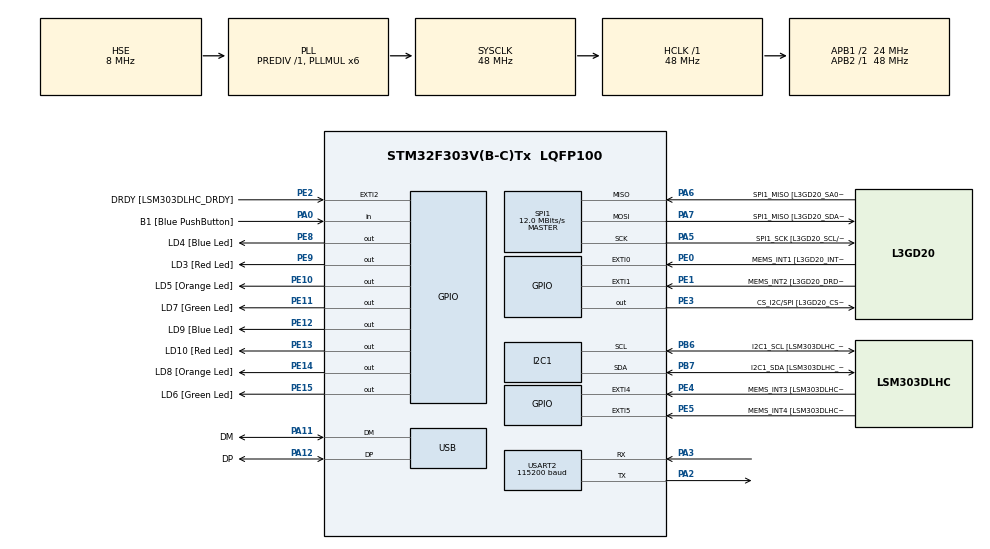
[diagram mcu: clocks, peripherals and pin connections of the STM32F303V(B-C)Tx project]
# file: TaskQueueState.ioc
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FREERTOS.Tasks01=defaultTask,0,128,StartDefaultTask,Default,NULL,Dynamic,NULL,NULL
FREERTOS.configUSE_NEWLIB_REENTRANT=1
FREERTOS.configUSE_TIMERS=1
I2C1.Timing=0x2000090E
I2C1.Timing-I2C=0x2000090E
Mcu.Family=STM32F3
Mcu.Name=STM32F303V(B-C)Tx
Mcu.Package=LQFP100
NVIC.PriorityGroup=NVIC_PRIORITYGROUP_4
NVIC.TIM6_DAC_IRQn=true\:15\:0\:false\:false\:true\:false\:false\:true\:true
NVIC.TimeBase=TIM6_DAC_IRQn
NVIC.TimeBaseIP=TIM6
NVIC.USART2_IRQn=true\:6\:0\:true\:false\:true\:true\:true\:true\:true
PA0.GPIO_Label=B1 [Blue PushButton]
PA0.Signal=GPIO_Input
PA11.GPIO_Label=DM
PA11.Mode=Device
PA11.Signal=USB_DM
PA12.GPIO_Label=DP
PA12.Mode=Device
PA12.Signal=USB_DP
PA13.GPIO_Label=SWDIO
PA13.Mode=Serial_Wire
PA13.Signal=SYS_JTMS-SWDIO
PA14.GPIO_Label=SWCLK
PA14.Mode=Serial_Wire
PA14.Signal=SYS_JTCK-SWCLK
PA2.Mode=Asynchronous
PA2.Signal=USART2_TX
PA3.Mode=Asynchronous
PA3.Signal=USART2_RX
PA5.GPIO_Label=SPI1_SCK [L3GD20_SCL/SPC]
PA5.Mode=Full_Duplex_Master
PA5.Signal=SPI1_SCK
PA6.GPIO_Label=SPI1_MISO [L3GD20_SA0/SDO]
PA6.Mode=Full_Duplex_Master
PA6.Signal=SPI1_MISO
PA7.GPIO_Label=SPI1_MISO [L3GD20_SDA/SDI/SDO]
PA7.Mode=Full_Duplex_Master
PA7.Signal=SPI1_MOSI
PB3.GPIO_Label=SWO
PB3.Signal=SYS_JTDO-TRACESWO
PB6.GPIO_Label=I2C1_SCL [LSM303DLHC_SCL]
PB6.GPIO_Pu=GPIO_PULLUP
PB6.Mode=I2C
PB6.Signal=I2C1_SCL
PB7.GPIO_Label=I2C1_SDA [LSM303DLHC_SDA]
PB7.GPIO_Pu=GPIO_PULLUP
PB7.Mode=I2C
PB7.Signal=I2C1_SDA
PC14-OSC32_IN.GPIO_Label=OSC32_IN
PC14-OSC32_IN.Signal=RCC_OSC32_IN
PC15-OSC32_OUT.GPIO_Label=OSC32_OUT
PC15-OSC32_OUT.Signal=RCC_OSC32_OUT
PE0.GPIO_Label=MEMS_INT1 [L3GD20_INT1]
PE0.GPIO_ModeDefaultEXTI=GPIO_MODE_EVT_RISING
PE0.Signal=GPXTI0
PE1.GPIO_Label=MEMS_INT2 [L3GD20_DRDY/INT2]
PE1.GPIO_ModeDefaultEXTI=GPIO_MODE_EVT_RISING
PE1.Signal=GPXTI1
PE10.GPIO_Label=LD5 [Orange Led]
PE10.Signal=GPIO_Output
PE11.GPIO_Label=LD7 [Green Led]
PE11.Signal=GPIO_Output
PE12.GPIO_Label=LD9 [Blue Led]
PE12.Signal=GPIO_Output
PE13.GPIO_Label=LD10 [Red Led]
PE13.Signal=GPIO_Output
PE14.GPIO_Label=LD8 [Orange Led]
PE14.Signal=GPIO_Output
PE15.GPIO_Label=LD6 [Green Led]
PE15.Signal=GPIO_Output
PE2.GPIO_Label=DRDY [LSM303DLHC_DRDY]
PE2.GPIO_ModeDefaultEXTI=GPIO_MODE_EVT_RISING
PE2.Signal=GPXTI2
PE3.GPIO_Label=CS_I2C/SPI [L3GD20_CS_I2C/SPI]
PE3.Signal=GPIO_Output
PE4.GPIO_Label=MEMS_INT3 [LSM303DLHC_INT1]
PE4.GPIO_ModeDefaultEXTI=GPIO_MODE_EVT_RISING
PE4.Signal=GPXTI4
PE5.GPIO_Label=MEMS_INT4 [LSM303DLHC_INT2]
PE5.GPIO_ModeDefaultEXTI=GPIO_MODE_EVT_RISING
PE5.Signal=GPXTI5
PE8.GPIO_Label=LD4 [Blue Led]
PE8.Signal=GPIO_Output
PE9.GPIO_Label=LD3 [Red Led]
PE9.Signal=GPIO_Output
PF0-OSC_IN.GPIO_Label=OSC_IN
PF0-OSC_IN.Mode=HSE-External-Clock-Source
PF0-OSC_IN.Signal=RCC_OSC_IN
PF1-OSC_OUT.GPIO_Label=OSC_OUT
PF1-OSC_OUT.Signal=RCC_OSC_OUT
ProjectManager.HeapSize=0x200
ProjectManager.StackSize=0x400
ProjectManager.TargetToolchain=STM32CubeIDE
RCC.AHBFreq_Value=48000000
RCC.APB1CLKDivider=RCC_HCLK_DIV2
RCC.APB1Freq_Value=24000000
RCC.APB1TimFreq_Value=48000000
RCC.APB2Freq_Value=48000000
RCC.APB2TimFreq_Value=48000000
RCC.CortexFreq_Value=48000000
RCC.HCLKFreq_Value=48000000
RCC.HSE_VALUE=8000000
RCC.HSI_VALUE=8000000
RCC.LSE_VALUE=32768
RCC.PLLMUL=RCC_PLL_MUL6
RCC.SYSCLKFreq_VALUE=48000000
RCC.SYSCLKSourceVirtual=RCC_SYSCLKSOURCE_PLLCLK
RCC.USBFreq_Value=48000000
RTC.HourFormat=RTC_HOURFORMAT_12
SPI1.BaudRatePrescaler=SPI_BAUDRATEPRESCALER_4
SPI1.BaudRatePrescaler-Full_Duplex_Master=SPI_BAUDRATEPRESCALER_2
SPI1.CalculateBaudRate=12.0 MBits/s
SPI1.CalculateBaudRate-Full_Duplex_Master=24.0 MBits/s
SPI1.Direction=SPI_DIRECTION_2LINES
SPI1.Mode=SPI_MODE_MASTER
SPI1.Mode-Full_Duplex_Master=SPI_MODE_MASTER
SPI1.VirtualType=VM_MASTER
USART2.BaudRate=115200
USART2.VirtualMode-Asynchronous=VM_ASYNC
VP_FREERTOS_VS_CMSIS_V1.Mode=CMSIS_V1
VP_RTC_VS_RTC_Activate.Mode=RTC_Enabled
VP_SYS_VS_tim6.Mode=TIM6
board=STM32F3DISCOVERY

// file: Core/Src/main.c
/* USER CODE BEGIN Header */
/**
  ******************************************************************************
  * @file           : main.c
  * @brief          : Main program body
  ******************************************************************************
  * @attention
  *
  * Copyright (c) 2023 STMicroelectronics.
  * All rights reserved.
  *
  * This software is licensed under terms that can be found in the LICENSE file
  * in the root directory of this software component.
  * If no LICENSE file comes with this software, it is provided AS-IS.
  *
  ******************************************************************************
  */
/* USER CODE END Header */
#include "main.h"
#include "cmsis_os.h"
#include "i2c.h"
#include "rtc.h"
#include "spi.h"
#include "usart.h"
#include "usb.h"
#include "gpio.h"

/* USER CODE BEGIN PV */
xTaskHandle handle_menu_task;
xTaskHandle handle_cmd_task;
xTaskHandle handle_print_task;
xTaskHandle handle_led_task;
xTaskHandle handle_rtc_task;

QueueHandle_t q_data;
QueueHandle_t q_print;

uint8_t user_data;
state_t curr_state = sMainMenu;
// timer handles for software timer - leds
xTimerHandle handle_led_timer[4];

/* USER CODE END PV */

void SystemClock_Config(void);
void MX_FREERTOS_Init(void);

/* USER CODE BEGIN 0 */
void led_effect_callback(xTimerHandle xTimer);

/* USER CODE END 0 */

int main(void)
{
  /* USER CODE BEGIN 1 */
	  BaseType_t status;
  /* USER CODE END 1 */

  /* MCU Configuration--------------------------------------------------------*/

  /* Reset of all peripherals, Initializes the Flash interface and the Systick. */
  HAL_Init();

  /* Configure the system clock */
  SystemClock_Config();

  /* Initialize all configured peripherals */
  MX_GPIO_Init();
  MX_I2C1_Init();
  MX_SPI1_Init();
  MX_USB_PCD_Init();
  MX_RTC_Init();
  MX_USART2_UART_Init();
  /* USER CODE BEGIN 2 */
  /* Call init function for freertos objects (in freertos.c) */
  MX_FREERTOS_Init();
	status = xTaskCreate(menu_task, "menu_task", 128, NULL, 2, &handle_menu_task);

	configASSERT(status == pdPASS);

	status = xTaskCreate(cmd_handler_task, "cmd_task", 128, NULL, 2, &handle_cmd_task);

	configASSERT(status == pdPASS);

	status = xTaskCreate(print_task, "print_task", 128, NULL, 2, &handle_print_task);

	configASSERT(status == pdPASS);

	status = xTaskCreate(led_task, "led_task", 128, NULL, 2, &handle_led_task);

	configASSERT(status == pdPASS);

	//status = xTaskCreate(rtc_task, "rtc_task", 128, NULL, 2, &handle_rtc_task);

	configASSERT(status == pdPASS);

	q_data = xQueueCreate (5, sizeof(char));

//	configASSERT(q_data != NULL);

	q_print = xQueueCreate (5, sizeof(size_t));

//	configASSERT(q_print != NULL);

  // create for timer for 4 led attribute

  for ( int i = 0;  i < 4; i++) {
	  handle_led_timer[i] = xTimerCreate("led_timer", pdMS_TO_TICKS(500), pdTRUE, (void*)(i+1), led_effect_callback);
}

  HAL_UART_Receive_IT(&huart2, &user_data, 1);
  /* USER CODE END 2 */

  /* Start scheduler */
  osKernelStart();

  /* We should never get here as control is now taken by the scheduler */
  /* Infinite loop */
  while (1)
  {

  }
}

void SystemClock_Config(void)
{
  RCC_OscInitTypeDef RCC_OscInitStruct = {0};
  RCC_ClkInitTypeDef RCC_ClkInitStruct = {0};
  RCC_PeriphCLKInitTypeDef PeriphClkInit = {0};

  /** Initializes the RCC Oscillators according to the specified parameters
  * in the RCC_OscInitTypeDef structure.
  */
  RCC_OscInitStruct.OscillatorType = RCC_OSCILLATORTYPE_HSI|RCC_OSCILLATORTYPE_LSI
                              |RCC_OSCILLATORTYPE_HSE;
  RCC_OscInitStruct.HSEState = RCC_HSE_BYPASS;
  RCC_OscInitStruct.HSEPredivValue = RCC_HSE_PREDIV_DIV1;
  RCC_OscInitStruct.HSIState = RCC_HSI_ON;
  RCC_OscInitStruct.HSICalibrationValue = RCC_HSICALIBRATION_DEFAULT;
  RCC_OscInitStruct.LSIState = RCC_LSI_ON;
  RCC_OscInitStruct.PLL.PLLState = RCC_PLL_ON;
  RCC_OscInitStruct.PLL.PLLSource = RCC_PLLSOURCE_HSE;
  RCC_OscInitStruct.PLL.PLLMUL = RCC_PLL_MUL6;
  if (HAL_RCC_OscConfig(&RCC_OscInitStruct) != HAL_OK)
  {
    Error_Handler();
  }

  /** Initializes the CPU, AHB and APB buses clocks
  */
  RCC_ClkInitStruct.ClockType = RCC_CLOCKTYPE_HCLK|RCC_CLOCKTYPE_SYSCLK
                              |RCC_CLOCKTYPE_PCLK1|RCC_CLOCKTYPE_PCLK2;
  RCC_ClkInitStruct.SYSCLKSource = RCC_SYSCLKSOURCE_PLLCLK;
  RCC_ClkInitStruct.AHBCLKDivider = RCC_SYSCLK_DIV1;
  RCC_ClkInitStruct.APB1CLKDivider = RCC_HCLK_DIV2;
  RCC_ClkInitStruct.APB2CLKDivider = RCC_HCLK_DIV1;

  if (HAL_RCC_ClockConfig(&RCC_ClkInitStruct, FLASH_LATENCY_1) != HAL_OK)
  {
    Error_Handler();
  }
  PeriphClkInit.PeriphClockSelection = RCC_PERIPHCLK_USB|RCC_PERIPHCLK_USART2
                              |RCC_PERIPHCLK_I2C1|RCC_PERIPHCLK_RTC;
  PeriphClkInit.Usart2ClockSelection = RCC_USART2CLKSOURCE_PCLK1;
  PeriphClkInit.I2c1ClockSelection = RCC_I2C1CLKSOURCE_HSI;
  PeriphClkInit.RTCClockSelection = RCC_RTCCLKSOURCE_LSI;
  PeriphClkInit.USBClockSelection = RCC_USBCLKSOURCE_PLL;
  if (HAL_RCCEx_PeriphCLKConfig(&PeriphClkInit) != HAL_OK)
  {
    Error_Handler();
  }
}

/* USER CODE BEGIN 4 */

void led_effect_callback(xTimerHandle xTimer)
{
	int id;
	id = (uint32_t) pvTimerGetTimerID( xTimer );
	switch (id) {
		case 1:
			LED_effect1();
			break;
		case 2:
			LED_effect2();
			break;
		case 3:
			LED_effect3();
			break;
		case 4:
			LED_effect4();
			break;
	}
}

/*
 * This function is called from the UART interrupt handler, hence it executes in interrupt context.
 * It handles received data bytes from the UART and enqueues them in a queue, as well as notifying
 * a command handling task when a new line character is received.
 */
void HAL_UART_RxCpltCallback(UART_HandleTypeDef *huart)
{
    // Local variable to temporarily hold a data byte when needed
    uint8_t dummy;

    // Delay to allow other interrupts to be handled
    for(uint32_t i = 0 ; i < 4000 ; i++);

    // Check if the queue is not full
    if(! xQueueIsQueueFullFromISR(q_data))
    {
        // Enqueue received data byte
        xQueueSendFromISR(q_data , (void*)&user_data , NULL);
    }
    else
    {
        // If the queue is full, check if the received data byte is a new line character
        if(user_data == '\n')
        {
            // Dequeue the last data byte from the queue
            xQueueReceiveFromISR(q_data,(void*)&dummy,NULL);

            // Enqueue the new line character
            xQueueSendFromISR(q_data ,(void*)&user_data , NULL);
        }
    }

    // Check if the received data byte is a new line character
    if( user_data == '\n' )
    {
        // Send notification to command handling task
        xTaskNotifyFromISR (handle_cmd_task,0,eNoAction,NULL);
    }

    // Enable UART data byte reception again in IT mode
    HAL_UART_Receive_IT(&huart2, (uint8_t*)&user_data, 1);

}
/* USER CODE END 4 */

void HAL_TIM_PeriodElapsedCallback(TIM_HandleTypeDef *htim)
{
  if (htim->Instance == TIM6) {
    HAL_IncTick();
  }
}

void Error_Handler(void)
{
  __disable_irq();
  while (1)
  {
  }
}

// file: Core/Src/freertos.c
/* USER CODE BEGIN Header */
/**
  ******************************************************************************
  * File Name          : freertos.c
  * Description        : Code for freertos applications
  ******************************************************************************
  * @attention
  *
  * Copyright (c) 2023 STMicroelectronics.
  * All rights reserved.
  *
  * This software is licensed under terms that can be found in the LICENSE file
  * in the root directory of this software component.
  * If no LICENSE file comes with this software, it is provided AS-IS.
  *
  ******************************************************************************
  */
/* USER CODE END Header */

#include "FreeRTOS.h"
#include "task.h"
#include "main.h"
#include "cmsis_os.h"

osThreadId defaultTaskHandle;

void StartDefaultTask(void const * argument);

void MX_FREERTOS_Init(void); /* (MISRA C 2004 rule 8.1) */

/* GetIdleTaskMemory prototype (linked to static allocation support) */
void vApplicationGetIdleTaskMemory( StaticTask_t **ppxIdleTaskTCBBuffer, StackType_t **ppxIdleTaskStackBuffer, uint32_t *pulIdleTaskStackSize );

/* GetTimerTaskMemory prototype (linked to static allocation support) */
void vApplicationGetTimerTaskMemory( StaticTask_t **ppxTimerTaskTCBBuffer, StackType_t **ppxTimerTaskStackBuffer, uint32_t *pulTimerTaskStackSize );

/* USER CODE BEGIN GET_IDLE_TASK_MEMORY */
static StaticTask_t xIdleTaskTCBBuffer;
static StackType_t xIdleStack[configMINIMAL_STACK_SIZE];

void vApplicationGetIdleTaskMemory( StaticTask_t **ppxIdleTaskTCBBuffer, StackType_t **ppxIdleTaskStackBuffer, uint32_t *pulIdleTaskStackSize )
{
  *ppxIdleTaskTCBBuffer = &xIdleTaskTCBBuffer;
  *ppxIdleTaskStackBuffer = &xIdleStack[0];
  *pulIdleTaskStackSize = configMINIMAL_STACK_SIZE;
  /* place for user code */
}
/* USER CODE END GET_IDLE_TASK_MEMORY */

/* USER CODE BEGIN GET_TIMER_TASK_MEMORY */
static StaticTask_t xTimerTaskTCBBuffer;
static StackType_t xTimerStack[configTIMER_TASK_STACK_DEPTH];

void vApplicationGetTimerTaskMemory( StaticTask_t **ppxTimerTaskTCBBuffer, StackType_t **ppxTimerTaskStackBuffer, uint32_t *pulTimerTaskStackSize )
{
  *ppxTimerTaskTCBBuffer = &xTimerTaskTCBBuffer;
  *ppxTimerTaskStackBuffer = &xTimerStack[0];
  *pulTimerTaskStackSize = configTIMER_TASK_STACK_DEPTH;
  /* place for user code */
}
/* USER CODE END GET_TIMER_TASK_MEMORY */

void MX_FREERTOS_Init(void) {

  /* Create the thread(s) */
  /* definition and creation of defaultTask */

}

void StartDefaultTask(void const * argument)
{
  for(;;)
  {
    osDelay(1);
  }
}
